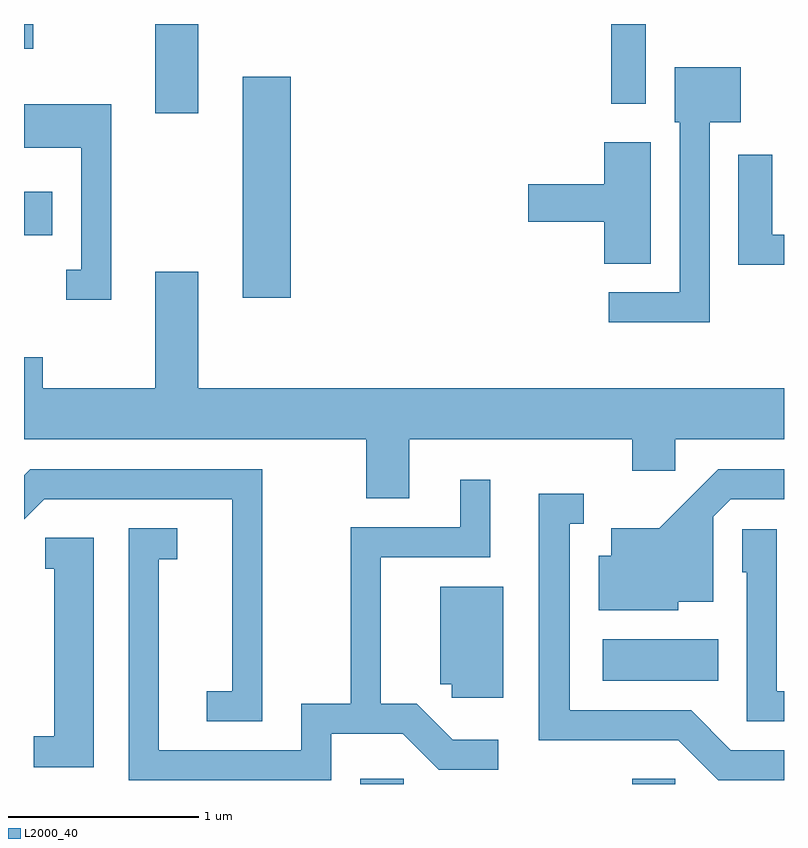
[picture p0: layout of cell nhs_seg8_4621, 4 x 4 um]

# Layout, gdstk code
import gdstk
lib = gdstk.Library(unit=1e-6, precision=1e-09)
def R(c, l, rs):  # rectangles x0, y0, x1, y1
    for r in rs: c.add(gdstk.rectangle(r[:2], r[2:], *l))
def P(c, l, *ps):  # polygons
    for p in ps: c.add(gdstk.Polygon(p, *l))
L2000_40 = (2000, 40)

nhs_seg8_4621 = lib.new_cell('nhs_seg8_4621')
R(nhs_seg8_4621, L2000_40, [(325.381,1872.342,325.609,1872.369), (326.811,1872.342,327.039,1872.369), (326.656,1872.886,327.264,1873.104), (324.761,1874.901,325.014,1876.064), (323.611,1875.231,323.759,1875.459), (324.301,1875.871,324.529,1876.342), (326.701,1875.921,326.884,1876.342), (323.611,1876.211,323.659,1876.342)])
P(nhs_seg8_4621, L2000_40, [(327.219,1875.826),(327.384,1875.826),(327.384,1876.114),(327.036,1876.114),(327.036,1875.826),(327.061,1875.826),(327.061,1874.929),(326.688,1874.929),(326.688,1874.771),(327.219,1874.771)],
  [(324.069,1875.919),(323.611,1875.919),(323.611,1875.691),(323.911,1875.691),(323.911,1875.049),(323.833,1875.049),(323.833,1874.891),(324.069,1874.891)],
  [(326.909,1875.719),(326.666,1875.719),(326.666,1875.499),(326.266,1875.499),(326.266,1875.301),(326.666,1875.301),(326.666,1875.081),(326.909,1875.081)],
  [(327.611,1875.234),(327.549,1875.234),(327.549,1875.654),(327.371,1875.654),(327.371,1875.076),(327.611,1875.076)],
  [(325.639,1874.156),(326.811,1874.156),(326.811,1873.991),(327.039,1873.991),(327.039,1874.156),(327.611,1874.156),(327.611,1874.424),(324.529,1874.424),(324.529,1875.039),(324.301,1875.039),(324.301,1874.424),(323.709,1874.424),(323.709,1874.589),(323.611,1874.589),(323.611,1874.156),(325.411,1874.156),(325.411,1873.846),(325.639,1873.846)],
  [(327.054,1873.301),(327.239,1873.301),(327.239,1873.749),(327.332,1873.841),(327.611,1873.841),(327.611,1873.999),(327.264,1873.999),(326.954,1873.689),(326.701,1873.689),(326.701,1873.544),(326.636,1873.544),(326.636,1873.256),(327.054,1873.256)],
  [(324.864,1873.999),(323.644,1873.999),(323.611,1873.966),(323.611,1873.735),(323.717,1873.841),(324.706,1873.841),(324.706,1872.829),(324.573,1872.829),(324.573,1872.671),(324.864,1872.671)],
  [(325.229,1872.606),(325.604,1872.606),(325.794,1872.416),(326.108,1872.416),(326.108,1872.574),(325.867,1872.574),(325.677,1872.764),(325.489,1872.764),(325.489,1873.536),(326.064,1873.536),(326.064,1873.943),(325.906,1873.943),(325.906,1873.694),(325.331,1873.694),(325.331,1872.764),(325.071,1872.764),(325.071,1872.519),(324.319,1872.519),(324.319,1873.526),(324.418,1873.526),(324.418,1873.689),(324.161,1873.689),(324.161,1872.361),(325.229,1872.361)],
  [(327.611,1872.519),(327.332,1872.519),(327.122,1872.729),(326.484,1872.729),(326.484,1873.711),(326.558,1873.711),(326.558,1873.869),(326.321,1873.869),(326.321,1872.571),(327.054,1872.571),(327.264,1872.361),(327.611,1872.361)],
  [(327.611,1872.829),(327.574,1872.829),(327.574,1873.684),(327.391,1873.684),(327.391,1873.456),(327.416,1873.456),(327.416,1872.671),(327.611,1872.671)],
  [(323.979,1873.639),(323.723,1873.639),(323.723,1873.476),(323.771,1873.476),(323.771,1872.594),(323.663,1872.594),(323.663,1872.431),(323.979,1872.431)],
  [(326.134,1873.379),(325.801,1873.379),(325.801,1872.866),(325.861,1872.866),(325.861,1872.796),(326.134,1872.796)])

lib.write_gds('nhs_seg8_4621.gds')
